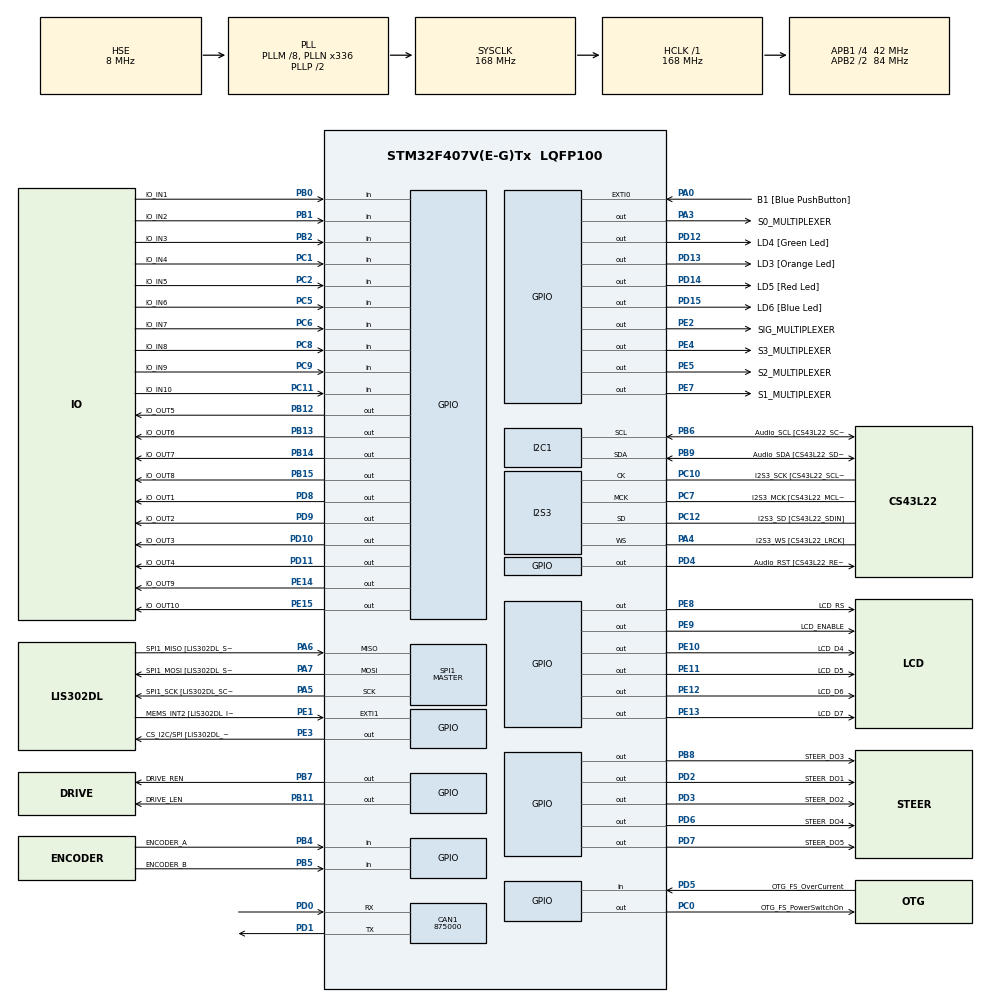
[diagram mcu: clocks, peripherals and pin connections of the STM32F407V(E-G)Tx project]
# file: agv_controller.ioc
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CAN1.CalculateBaudRate=875000
CAN1.CalculateTimeBit=1142
CAN1.CalculateTimeQuantum=380.95238095238096
I2S3.ErrorAudioFreq=-0.27 %
I2S3.FullDuplexMode=I2S_FULLDUPLEXMODE_DISABLE
I2S3.Instance=SPI$Index
I2S3.RealAudioFreq=7.978 KHz
I2S3.VirtualMode=I2S_MODE_MASTER
Mcu.Family=STM32F4
Mcu.Name=STM32F407V(E-G)Tx
Mcu.Package=LQFP100
NVIC.PriorityGroup=NVIC_PRIORITYGROUP_0
PA0-WKUP.GPIO_Label=B1 [Blue PushButton]
PA0-WKUP.GPIO_ModeDefaultEXTI=GPIO_MODE_EVT_RISING
PA0-WKUP.GPIO_PuPd=GPIO_NOPULL
PA0-WKUP.Signal=GPXTI0
PA1.Signal=S_TIM5_CH2
PA13.GPIO_Label=SWDIO
PA13.Mode=Serial_Wire
PA13.Signal=SYS_JTMS-SWDIO
PA14.GPIO_Label=SWCLK
PA14.Mode=Serial_Wire
PA14.Signal=SYS_JTCK-SWCLK
PA2.Signal=S_TIM5_CH3
PA3.GPIO_Label=S0_MULTIPLEXER
PA3.Signal=GPIO_Output
PA4.GPIO_Label=I2S3_WS [CS43L22_LRCK]
PA4.GPIO_Mode=GPIO_MODE_AF_PP
PA4.GPIO_PuPd=GPIO_NOPULL
PA4.GPIO_Speed=GPIO_SPEED_FREQ_LOW
PA4.Mode=Half_Duplex_Master
PA4.Signal=I2S3_WS
PA5.GPIO_Label=SPI1_SCK [LIS302DL_SCL/SPC]
PA5.GPIO_Mode=GPIO_MODE_AF_PP
PA5.GPIO_PuPd=GPIO_NOPULL
PA5.GPIO_Speed=GPIO_SPEED_FREQ_LOW
PA5.Mode=Full_Duplex_Master
PA5.Signal=SPI1_SCK
PA6.GPIO_Label=SPI1_MISO [LIS302DL_SDO]
PA6.GPIO_Mode=GPIO_MODE_AF_PP
PA6.GPIO_PuPd=GPIO_NOPULL
PA6.GPIO_Speed=GPIO_SPEED_FREQ_LOW
PA6.Mode=Full_Duplex_Master
PA6.Signal=SPI1_MISO
PA7.GPIO_Label=SPI1_MOSI [LIS302DL_SDA/SDI/SDO]
PA7.GPIO_Mode=GPIO_MODE_AF_PP
PA7.GPIO_PuPd=GPIO_NOPULL
PA7.GPIO_Speed=GPIO_SPEED_FREQ_LOW
PA7.Mode=Full_Duplex_Master
PA7.Signal=SPI1_MOSI
PA8.Signal=S_TIM1_CH1
PB0.GPIO_Label=IO_IN1
PB0.Signal=GPIO_Input
PB1.GPIO_Label=IO_IN2
PB1.Signal=GPIO_Input
PB11.GPIO_Label=DRIVE_LEN
PB11.Signal=GPIO_Output
PB12.GPIO_Label=IO_OUT5
PB12.Signal=GPIO_Output
PB13.GPIO_Label=IO_OUT6
PB13.Signal=GPIO_Output
PB14.GPIO_Label=IO_OUT7
PB14.Signal=GPIO_Output
PB15.GPIO_Label=IO_OUT8
PB15.Signal=GPIO_Output
PB2.GPIO_Label=IO_IN3
PB2.Signal=GPIO_Input
PB4.GPIO_Label=ENCODER_A
PB4.GPIO_PuPd=GPIO_PULLUP
PB4.Signal=GPIO_Input
PB5.GPIO_Label=ENCODER_B
PB5.GPIO_PuPd=GPIO_PULLUP
PB5.Signal=GPIO_Input
PB6.GPIO_Label=Audio_SCL [CS43L22_SCL]
PB6.GPIO_Mode=GPIO_MODE_AF_OD
PB6.GPIO_Pu=GPIO_PULLUP
PB6.GPIO_PuPd=GPIO_NOPULL
PB6.GPIO_Speed=GPIO_SPEED_FREQ_LOW
PB6.Mode=I2C
PB6.Signal=I2C1_SCL
PB7.GPIO_Label=DRIVE_REN
PB7.Signal=GPIO_Output
PB8.GPIO_Label=STEER_DO3
PB8.Signal=GPIO_Output
PB9.GPIO_Label=Audio_SDA [CS43L22_SDA]
PB9.GPIO_Mode=GPIO_MODE_AF_OD
PB9.GPIO_Pu=GPIO_PULLUP
PB9.GPIO_PuPd=GPIO_NOPULL
PB9.GPIO_Speed=GPIO_SPEED_FREQ_LOW
PB9.Mode=I2C
PB9.Signal=I2C1_SDA
PC0.GPIO_Label=OTG_FS_PowerSwitchOn
PC0.GPIO_PuPd=GPIO_NOPULL
PC0.GPIO_Speed=GPIO_SPEED_FREQ_LOW
PC0.PinState=GPIO_PIN_SET
PC0.Signal=GPIO_Output
PC1.GPIO_Label=IO_IN4
PC1.Signal=GPIO_Input
PC10.GPIO_Label=I2S3_SCK [CS43L22_SCLK]
PC10.GPIO_Mode=GPIO_MODE_AF_PP
PC10.GPIO_PuPd=GPIO_NOPULL
PC10.GPIO_Speed=GPIO_SPEED_FREQ_LOW
PC10.Mode=Half_Duplex_Master
PC10.Signal=I2S3_CK
PC11.GPIO_Label=IO_IN10
PC11.Signal=GPIO_Input
PC12.GPIO_Label=I2S3_SD [CS43L22_SDIN]
PC12.GPIO_Mode=GPIO_MODE_AF_PP
PC12.GPIO_PuPd=GPIO_NOPULL
PC12.GPIO_Speed=GPIO_SPEED_FREQ_LOW
PC12.Mode=Half_Duplex_Master
PC12.Signal=I2S3_SD
PC14-OSC32_IN.Signal=RCC_OSC32_IN
PC15-OSC32_OUT.Signal=RCC_OSC32_OUT
PC2.GPIO_Label=IO_IN5
PC2.Signal=GPIO_Input
PC3.GPIO_Label=PDM_OUT [MP45DT02_DOUT]
PC3.GPIO_Mode=GPIO_MODE_AF_PP
PC3.GPIO_PuPd=GPIO_NOPULL
PC3.GPIO_Speed=GPIO_SPEED_FREQ_LOW
PC3.Signal=I2S2_SD
PC5.GPIO_Label=IO_IN6
PC5.Signal=GPIO_Input
PC6.GPIO_Label=IO_IN7
PC6.Signal=GPIO_Input
PC7.GPIO_Label=I2S3_MCK [CS43L22_MCLK]
PC7.GPIO_Mode=GPIO_MODE_AF_PP
PC7.GPIO_PuPd=GPIO_NOPULL
PC7.GPIO_Speed=GPIO_SPEED_FREQ_LOW
PC7.Mode=Master_Clock_Activated
PC7.Signal=I2S3_MCK
PC8.GPIO_Label=IO_IN8
PC8.Signal=GPIO_Input
PC9.GPIO_Label=IO_IN9
PC9.Signal=GPIO_Input
PD0.Mode=CAN_Activate
PD0.Signal=CAN1_RX
PD1.Mode=CAN_Activate
PD1.Signal=CAN1_TX
PD10.GPIO_Label=IO_OUT3
PD10.Signal=GPIO_Output
PD11.GPIO_Label=IO_OUT4
PD11.Signal=GPIO_Output
PD12.GPIO_Label=LD4 [Green Led]
PD12.GPIO_PuPd=GPIO_NOPULL
PD12.GPIO_Speed=GPIO_SPEED_FREQ_LOW
PD12.Signal=GPIO_Output
PD13.GPIO_Label=LD3 [Orange Led]
PD13.GPIO_PuPd=GPIO_NOPULL
PD13.GPIO_Speed=GPIO_SPEED_FREQ_LOW
PD13.Signal=GPIO_Output
PD14.GPIO_Label=LD5 [Red Led]
PD14.GPIO_PuPd=GPIO_NOPULL
PD14.GPIO_Speed=GPIO_SPEED_FREQ_LOW
PD14.Signal=GPIO_Output
PD15.GPIO_Label=LD6 [Blue Led]
PD15.GPIO_PuPd=GPIO_NOPULL
PD15.GPIO_Speed=GPIO_SPEED_FREQ_LOW
PD15.Signal=GPIO_Output
PD2.GPIO_Label=STEER_DO1
PD2.Signal=GPIO_Output
PD3.GPIO_Label=STEER_DO2
PD3.Signal=GPIO_Output
PD4.GPIO_Label=Audio_RST [CS43L22_RESET]
PD4.GPIO_PuPd=GPIO_NOPULL
PD4.GPIO_Speed=GPIO_SPEED_FREQ_LOW
PD4.Signal=GPIO_Output
PD5.GPIO_Label=OTG_FS_OverCurrent
PD5.GPIO_Mode=GPIO_MODE_INPUT
PD5.GPIO_PuPd=GPIO_NOPULL
PD5.Signal=GPIO_Input
PD6.GPIO_Label=STEER_DO4
PD6.Signal=GPIO_Output
PD7.GPIO_Label=STEER_DO5
PD7.Signal=GPIO_Output
PD8.GPIO_Label=IO_OUT1
PD8.Signal=GPIO_Output
PD9.GPIO_Label=IO_OUT2
PD9.Signal=GPIO_Output
PE1.GPIO_Label=MEMS_INT2 [LIS302DL_INT2]
PE1.GPIO_ModeDefaultEXTI=GPIO_MODE_EVT_RISING
PE1.GPIO_PuPd=GPIO_NOPULL
PE1.Signal=GPXTI1
PE10.GPIO_Label=LCD_D4
PE10.Signal=GPIO_Output
PE11.GPIO_Label=LCD_D5
PE11.Signal=GPIO_Output
PE12.GPIO_Label=LCD_D6
PE12.Signal=GPIO_Output
PE13.GPIO_Label=LCD_D7
PE13.Signal=GPIO_Output
PE14.GPIO_Label=IO_OUT9
PE14.Signal=GPIO_Output
PE15.GPIO_Label=IO_OUT10
PE15.Signal=GPIO_Output
PE2.GPIO_Label=SIG_MULTIPLEXER
PE2.Signal=GPIO_Output
PE3.GPIO_Label=CS_I2C/SPI [LIS302DL_CS_I2C/SPI]
PE3.GPIO_PuPd=GPIO_NOPULL
PE3.GPIO_Speed=GPIO_SPEED_FREQ_LOW
PE3.Signal=GPIO_Output
PE4.GPIO_Label=S3_MULTIPLEXER
PE4.Signal=GPIO_Output
PE5.GPIO_Label=S2_MULTIPLEXER
PE5.Signal=GPIO_Output
PE7.GPIO_Label=S1_MULTIPLEXER
PE7.Signal=GPIO_Output
PE8.GPIO_Label=LCD_RS
PE8.Signal=GPIO_Output
PE9.GPIO_Label=LCD_ENABLE
PE9.Signal=GPIO_Output
PH0-OSC_IN.GPIO_Label=PH0-OSC_IN
PH0-OSC_IN.Mode=HSE-External-Oscillator
PH0-OSC_IN.Signal=RCC_OSC_IN
PH1-OSC_OUT.GPIO_Label=PH1-OSC_OUT
PH1-OSC_OUT.Mode=HSE-External-Oscillator
PH1-OSC_OUT.Signal=RCC_OSC_OUT
ProjectManager.HeapSize=0x200
ProjectManager.StackSize=0x400
ProjectManager.TargetToolchain=STM32CubeIDE
RCC.48MHZClocksFreq_Value=48000000
RCC.AHBFreq_Value=168000000
RCC.APB1CLKDivider=RCC_HCLK_DIV4
RCC.APB1Freq_Value=42000000
RCC.APB1TimFreq_Value=84000000
RCC.APB2CLKDivider=RCC_HCLK_DIV2
RCC.APB2Freq_Value=84000000
RCC.APB2TimFreq_Value=168000000
RCC.CortexFreq_Value=168000000
RCC.HCLKFreq_Value=168000000
RCC.HSE_VALUE=8000000
RCC.HSI_VALUE=16000000
RCC.LSE_VALUE=32768
RCC.PLLM=8
RCC.PLLN=336
RCC.PLLQ=7
RCC.PLLSourceVirtual=RCC_PLLSOURCE_HSE
RCC.SYSCLKFreq_VALUE=168000000
RCC.SYSCLKSource=RCC_SYSCLKSOURCE_PLLCLK
RCC.VCOOutputFreq_Value=336000000
SH.S_TIM1_CH1.0=TIM1_CH1
SH.S_TIM5_CH2.0=TIM5_CH2
SH.S_TIM5_CH3.0=TIM5_CH3
SPI1.BaudRatePrescaler-Full_Duplex_Master=SPI_BAUDRATEPRESCALER_2
SPI1.CalculateBaudRate-Full_Duplex_Master=42.0 MBits/s
SPI1.Direction=SPI_DIRECTION_2LINES
SPI1.Mode=SPI_MODE_MASTER
SPI1.Mode-Full_Duplex_Master=SPI_MODE_MASTER
SPI1.VirtualType=VM_MASTER
board=STM32F407G-DISC1

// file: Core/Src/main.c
/* USER CODE BEGIN Header */
/**
  ******************************************************************************
  * @file           : main.c
  * @brief          : Main program body
  ******************************************************************************
  * @attention
  *
  * Copyright (c) 2026 STMicroelectronics.
  * All rights reserved.
  *
  * This software is licensed under terms that can be found in the LICENSE file
  * in the root directory of this software component.
  * If no LICENSE file comes with this software, it is provided AS-IS.
  *
  ******************************************************************************
  */
/* USER CODE END Header */
#include "main.h"

/* USER CODE BEGIN Includes */
#include "lcd.h"
#include "bsp.h"
#include "canbus.h"
#include "drive.h"
#include "steering.h"

#include <math.h>
#include <stdio.h>
#include <string.h>
#include <stdint.h>
/* USER CODE END Includes */

/* USER CODE BEGIN PTD */
#ifndef RAD_TO_DEG
#define RAD_TO_DEG 57.29577951308232f
#endif
#ifndef DEG_TO_RAD
#define DEG_TO_RAD 0.017453292519943295f
#endif

/* USER CODE END PTD */

/* USER CODE BEGIN PD */
#define CMD_CAN_ID          0x001
#define CAN_ID_STEERING_FB  0x011
#define CAN_ID_WHEELSPEED   0x012
#define CMD_TIMEOUT_MS      500
#define MAX_RX_PER_LOOP     8
#define DIAG_INTERVAL_MS    1000
#define CONTROL_INTERVAL_MS 20
#define SEND_INTERVAL_MS    20

#define MAX_LINEAR_MPS      0.4f
#define MAX_YAW_RAD_S       1.2f
#define MAX_STEER_RAD       (30.0f * DEG_TO_RAD)

#define WHEELBASE_M         0.50f
/* USER CODE END PD */

CAN_HandleTypeDef hcan1;

I2C_HandleTypeDef hi2c1;

I2S_HandleTypeDef hi2s3;

SPI_HandleTypeDef hspi1;

/* USER CODE BEGIN PV */
static uint32_t last_control_time = 0;
static uint32_t last_cmd_time     = 0;
static uint32_t last_diag_time    = 0;
static uint32_t last_send_time    = 0;

static float cmd_linear  = 0.0f;
static float cmd_angular = 0.0f;
static int   pwm_command = 0;

static uint32_t loop_count        = 0;
static uint32_t rx_cmd_count      = 0;
static uint32_t invalid_cmd_count = 0;
static uint32_t max_loop_cycles   = 0;

volatile int32_t enc_count = 0;
/* USER CODE END PV */

void SystemClock_Config(void);
static void MX_GPIO_Init(void);
static void MX_I2C1_Init(void);
static void MX_I2S3_Init(void);
static void MX_SPI1_Init(void);
static void MX_CAN1_Init(void);

/* USER CODE BEGIN 0 */
static float clampFloat(float v, float lo, float hi)
{
    if (v < lo) return lo;
    if (v > hi) return hi;
    return v;
}

/* Linear velocity (m/s) -> PWM (-255..255) */
static int velocityToPwm(float velocity)
{
    velocity = clampFloat(velocity, -MAX_LINEAR_MPS, MAX_LINEAR_MPS);
    return (int)roundf(velocity / MAX_LINEAR_MPS * 255.0f);
}

/* Model bicycle: delta = atan(L * yaw_rate / velocity) */
static float calculateSteering(float velocity, float yaw_rate)
{
    if (fabsf(velocity) < 0.03f) return 0.0f;

    float steering_angle = atan2f(WHEELBASE_M * yaw_rate, velocity);
    return clampFloat(steering_angle, -MAX_STEER_RAD, MAX_STEER_RAD);
}

/* USER CODE END 0 */

int main(void)
{

  /* MCU Configuration--------------------------------------------------------*/

  /* Reset of all peripherals, Initializes the Flash interface and the Systick. */
  HAL_Init();

  /* Configure the system clock */
  SystemClock_Config();

  /* Initialize all configured peripherals */
  MX_GPIO_Init();
  MX_I2C1_Init();
  MX_I2S3_Init();
  MX_SPI1_Init();
  MX_CAN1_Init();
  /* USER CODE BEGIN 2 */

  initLCD();
  char *stl = "EEPIS AGV";
  writeLCD(stl);
  char *ttl = "Starting";
  setCursor(0,1);
  writeLCD(ttl);

  HAL_Delay(1000);

  drive_init();

  uint32_t now = HAL_GetTick();
  last_cmd_time     = now;
  last_control_time = now;
  last_diag_time    = now;
  last_send_time    = now;

  /* USER CODE END 2 */

  /* Infinite loop */
  while (1)
  {
	  enc_count = drive_get_count();
  }
}

void SystemClock_Config(void)
{
  RCC_OscInitTypeDef RCC_OscInitStruct = {0};
  RCC_ClkInitTypeDef RCC_ClkInitStruct = {0};

  /** Configure the main internal regulator output voltage
  */
  __HAL_RCC_PWR_CLK_ENABLE();
  __HAL_PWR_VOLTAGESCALING_CONFIG(PWR_REGULATOR_VOLTAGE_SCALE1);

  /** Initializes the RCC Oscillators according to the specified parameters
  * in the RCC_OscInitTypeDef structure.
  */
  RCC_OscInitStruct.OscillatorType = RCC_OSCILLATORTYPE_HSE;
  RCC_OscInitStruct.HSEState = RCC_HSE_ON;
  RCC_OscInitStruct.PLL.PLLState = RCC_PLL_ON;
  RCC_OscInitStruct.PLL.PLLSource = RCC_PLLSOURCE_HSE;
  RCC_OscInitStruct.PLL.PLLM = 8;
  RCC_OscInitStruct.PLL.PLLN = 336;
  RCC_OscInitStruct.PLL.PLLP = RCC_PLLP_DIV2;
  RCC_OscInitStruct.PLL.PLLQ = 7;
  if (HAL_RCC_OscConfig(&RCC_OscInitStruct) != HAL_OK)
  {
    Error_Handler();
  }

  /** Initializes the CPU, AHB and APB buses clocks
  */
  RCC_ClkInitStruct.ClockType = RCC_CLOCKTYPE_HCLK|RCC_CLOCKTYPE_SYSCLK
                              |RCC_CLOCKTYPE_PCLK1|RCC_CLOCKTYPE_PCLK2;
  RCC_ClkInitStruct.SYSCLKSource = RCC_SYSCLKSOURCE_PLLCLK;
  RCC_ClkInitStruct.AHBCLKDivider = RCC_SYSCLK_DIV1;
  RCC_ClkInitStruct.APB1CLKDivider = RCC_HCLK_DIV4;
  RCC_ClkInitStruct.APB2CLKDivider = RCC_HCLK_DIV2;

  if (HAL_RCC_ClockConfig(&RCC_ClkInitStruct, FLASH_LATENCY_5) != HAL_OK)
  {
    Error_Handler();
  }
}

static void MX_CAN1_Init(void)
{

  hcan1.Instance = CAN1;
  hcan1.Init.Prescaler = 16;
  hcan1.Init.Mode = CAN_MODE_NORMAL;
  hcan1.Init.SyncJumpWidth = CAN_SJW_1TQ;
  hcan1.Init.TimeSeg1 = CAN_BS1_1TQ;
  hcan1.Init.TimeSeg2 = CAN_BS2_1TQ;
  hcan1.Init.TimeTriggeredMode = DISABLE;
  hcan1.Init.AutoBusOff = DISABLE;
  hcan1.Init.AutoWakeUp = DISABLE;
  hcan1.Init.AutoRetransmission = DISABLE;
  hcan1.Init.ReceiveFifoLocked = DISABLE;
  hcan1.Init.TransmitFifoPriority = DISABLE;
  if (HAL_CAN_Init(&hcan1) != HAL_OK)
  {
    Error_Handler();
  }

}

static void MX_I2C1_Init(void)
{

  hi2c1.Instance = I2C1;
  hi2c1.Init.ClockSpeed = 100000;
  hi2c1.Init.DutyCycle = I2C_DUTYCYCLE_2;
  hi2c1.Init.OwnAddress1 = 0;
  hi2c1.Init.AddressingMode = I2C_ADDRESSINGMODE_7BIT;
  hi2c1.Init.DualAddressMode = I2C_DUALADDRESS_DISABLE;
  hi2c1.Init.OwnAddress2 = 0;
  hi2c1.Init.GeneralCallMode = I2C_GENERALCALL_DISABLE;
  hi2c1.Init.NoStretchMode = I2C_NOSTRETCH_DISABLE;
  if (HAL_I2C_Init(&hi2c1) != HAL_OK)
  {
    Error_Handler();
  }

}

static void MX_I2S3_Init(void)
{

  hi2s3.Instance = SPI3;
  hi2s3.Init.Mode = I2S_MODE_MASTER_TX;
  hi2s3.Init.Standard = I2S_STANDARD_PHILIPS;
  hi2s3.Init.DataFormat = I2S_DATAFORMAT_16B;
  hi2s3.Init.MCLKOutput = I2S_MCLKOUTPUT_ENABLE;
  hi2s3.Init.AudioFreq = I2S_AUDIOFREQ_8K;
  hi2s3.Init.CPOL = I2S_CPOL_LOW;
  hi2s3.Init.ClockSource = I2S_CLOCK_PLL;
  hi2s3.Init.FullDuplexMode = I2S_FULLDUPLEXMODE_DISABLE;
  if (HAL_I2S_Init(&hi2s3) != HAL_OK)
  {
    Error_Handler();
  }

}

static void MX_SPI1_Init(void)
{

  /* SPI1 parameter configuration*/
  hspi1.Instance = SPI1;
  hspi1.Init.Mode = SPI_MODE_MASTER;
  hspi1.Init.Direction = SPI_DIRECTION_2LINES;
  hspi1.Init.DataSize = SPI_DATASIZE_8BIT;
  hspi1.Init.CLKPolarity = SPI_POLARITY_LOW;
  hspi1.Init.CLKPhase = SPI_PHASE_1EDGE;
  hspi1.Init.NSS = SPI_NSS_SOFT;
  hspi1.Init.BaudRatePrescaler = SPI_BAUDRATEPRESCALER_2;
  hspi1.Init.FirstBit = SPI_FIRSTBIT_MSB;
  hspi1.Init.TIMode = SPI_TIMODE_DISABLE;
  hspi1.Init.CRCCalculation = SPI_CRCCALCULATION_DISABLE;
  hspi1.Init.CRCPolynomial = 10;
  if (HAL_SPI_Init(&hspi1) != HAL_OK)
  {
    Error_Handler();
  }

}

static void MX_GPIO_Init(void)
{
  GPIO_InitTypeDef GPIO_InitStruct = {0};

  /* GPIO Ports Clock Enable */
  __HAL_RCC_GPIOE_CLK_ENABLE();
  __HAL_RCC_GPIOC_CLK_ENABLE();
  __HAL_RCC_GPIOH_CLK_ENABLE();
  __HAL_RCC_GPIOA_CLK_ENABLE();
  __HAL_RCC_GPIOB_CLK_ENABLE();
  __HAL_RCC_GPIOD_CLK_ENABLE();

  /*Configure GPIO pin Output Level */
  HAL_GPIO_WritePin(GPIOE, SIG_MULTIPLEXER_Pin|CS_I2C_SPI_Pin|S3_MULTIPLEXER_Pin|S2_MULTIPLEXER_Pin
                          |S1_MULTIPLEXER_Pin|LCD_RS_Pin|LCD_ENABLE_Pin|LCD_D4_Pin
                          |LCD_D5_Pin|LCD_D6_Pin|LCD_D7_Pin|IO_OUT9_Pin
                          |IO_OUT10_Pin, GPIO_PIN_RESET);

  /*Configure GPIO pin Output Level */
  HAL_GPIO_WritePin(OTG_FS_PowerSwitchOn_GPIO_Port, OTG_FS_PowerSwitchOn_Pin, GPIO_PIN_SET);

  /*Configure GPIO pin Output Level */
  HAL_GPIO_WritePin(S0_MULTIPLEXER_GPIO_Port, S0_MULTIPLEXER_Pin, GPIO_PIN_RESET);

  /*Configure GPIO pin Output Level */
  HAL_GPIO_WritePin(GPIOB, DRIVE_LEN_Pin|IO_OUT5_Pin|IO_OUT6_Pin|IO_OUT7_Pin
                          |IO_OUT8_Pin|DRIVE_REN_Pin|STEER_DO3_Pin, GPIO_PIN_RESET);

  /*Configure GPIO pin Output Level */
  HAL_GPIO_WritePin(GPIOD, IO_OUT1_Pin|IO_OUT2_Pin|IO_OUT3_Pin|IO_OUT4_Pin
                          |LD4_Pin|LD3_Pin|LD5_Pin|LD6_Pin
                          |STEER_DO1_Pin|STEER_DO2_Pin|Audio_RST_Pin|STEER_DO4_Pin
                          |STEER_DO5_Pin, GPIO_PIN_RESET);

  /*Configure GPIO pins : SIG_MULTIPLEXER_Pin CS_I2C_SPI_Pin S3_MULTIPLEXER_Pin S2_MULTIPLEXER_Pin
                           S1_MULTIPLEXER_Pin LCD_RS_Pin LCD_ENABLE_Pin LCD_D4_Pin
                           LCD_D5_Pin LCD_D6_Pin LCD_D7_Pin IO_OUT9_Pin
                           IO_OUT10_Pin */
  GPIO_InitStruct.Pin = SIG_MULTIPLEXER_Pin|CS_I2C_SPI_Pin|S3_MULTIPLEXER_Pin|S2_MULTIPLEXER_Pin
                          |S1_MULTIPLEXER_Pin|LCD_RS_Pin|LCD_ENABLE_Pin|LCD_D4_Pin
                          |LCD_D5_Pin|LCD_D6_Pin|LCD_D7_Pin|IO_OUT9_Pin
                          |IO_OUT10_Pin;
  GPIO_InitStruct.Mode = GPIO_MODE_OUTPUT_PP;
  GPIO_InitStruct.Pull = GPIO_NOPULL;
  GPIO_InitStruct.Speed = GPIO_SPEED_FREQ_LOW;
  HAL_GPIO_Init(GPIOE, &GPIO_InitStruct);

  /*Configure GPIO pin : OTG_FS_PowerSwitchOn_Pin */
  GPIO_InitStruct.Pin = OTG_FS_PowerSwitchOn_Pin;
  GPIO_InitStruct.Mode = GPIO_MODE_OUTPUT_PP;
  GPIO_InitStruct.Pull = GPIO_NOPULL;
  GPIO_InitStruct.Speed = GPIO_SPEED_FREQ_LOW;
  HAL_GPIO_Init(OTG_FS_PowerSwitchOn_GPIO_Port, &GPIO_InitStruct);

  /*Configure GPIO pins : IO_IN4_Pin IO_IN5_Pin IO_IN6_Pin IO_IN7_Pin
                           IO_IN8_Pin IO_IN9_Pin IO_IN10_Pin */
  GPIO_InitStruct.Pin = IO_IN4_Pin|IO_IN5_Pin|IO_IN6_Pin|IO_IN7_Pin
                          |IO_IN8_Pin|IO_IN9_Pin|IO_IN10_Pin;
  GPIO_InitStruct.Mode = GPIO_MODE_INPUT;
  GPIO_InitStruct.Pull = GPIO_NOPULL;
  HAL_GPIO_Init(GPIOC, &GPIO_InitStruct);

  /*Configure GPIO pin : PDM_OUT_Pin */
  GPIO_InitStruct.Pin = PDM_OUT_Pin;
  GPIO_InitStruct.Mode = GPIO_MODE_AF_PP;
  GPIO_InitStruct.Pull = GPIO_NOPULL;
  GPIO_InitStruct.Speed = GPIO_SPEED_FREQ_LOW;
  GPIO_InitStruct.Alternate = GPIO_AF5_SPI2;
  HAL_GPIO_Init(PDM_OUT_GPIO_Port, &GPIO_InitStruct);

  /*Configure GPIO pin : B1_Pin */
  GPIO_InitStruct.Pin = B1_Pin;
  GPIO_InitStruct.Mode = GPIO_MODE_EVT_RISING;
  GPIO_InitStruct.Pull = GPIO_NOPULL;
  HAL_GPIO_Init(B1_GPIO_Port, &GPIO_InitStruct);

  /*Configure GPIO pins : PA1 PA2 */
  GPIO_InitStruct.Pin = GPIO_PIN_1|GPIO_PIN_2;
  GPIO_InitStruct.Mode = GPIO_MODE_AF_PP;
  GPIO_InitStruct.Pull = GPIO_NOPULL;
  GPIO_InitStruct.Speed = GPIO_SPEED_FREQ_LOW;
  GPIO_InitStruct.Alternate = GPIO_AF2_TIM5;
  HAL_GPIO_Init(GPIOA, &GPIO_InitStruct);

  /*Configure GPIO pin : S0_MULTIPLEXER_Pin */
  GPIO_InitStruct.Pin = S0_MULTIPLEXER_Pin;
  GPIO_InitStruct.Mode = GPIO_MODE_OUTPUT_PP;
  GPIO_InitStruct.Pull = GPIO_NOPULL;
  GPIO_InitStruct.Speed = GPIO_SPEED_FREQ_LOW;
  HAL_GPIO_Init(S0_MULTIPLEXER_GPIO_Port, &GPIO_InitStruct);

  /*Configure GPIO pins : IO_IN1_Pin IO_IN2_Pin IO_IN3_Pin */
  GPIO_InitStruct.Pin = IO_IN1_Pin|IO_IN2_Pin|IO_IN3_Pin;
  GPIO_InitStruct.Mode = GPIO_MODE_INPUT;
  GPIO_InitStruct.Pull = GPIO_NOPULL;
  HAL_GPIO_Init(GPIOB, &GPIO_InitStruct);

  /*Configure GPIO pins : DRIVE_LEN_Pin IO_OUT5_Pin IO_OUT6_Pin IO_OUT7_Pin
                           IO_OUT8_Pin DRIVE_REN_Pin STEER_DO3_Pin */
  GPIO_InitStruct.Pin = DRIVE_LEN_Pin|IO_OUT5_Pin|IO_OUT6_Pin|IO_OUT7_Pin
                          |IO_OUT8_Pin|DRIVE_REN_Pin|STEER_DO3_Pin;
  GPIO_InitStruct.Mode = GPIO_MODE_OUTPUT_PP;
  GPIO_InitStruct.Pull = GPIO_NOPULL;
  GPIO_InitStruct.Speed = GPIO_SPEED_FREQ_LOW;
  HAL_GPIO_Init(GPIOB, &GPIO_InitStruct);

  /*Configure GPIO pins : IO_OUT1_Pin IO_OUT2_Pin IO_OUT3_Pin IO_OUT4_Pin
                           LD4_Pin LD3_Pin LD5_Pin LD6_Pin
                           STEER_DO1_Pin STEER_DO2_Pin Audio_RST_Pin STEER_DO4_Pin
                           STEER_DO5_Pin */
  GPIO_InitStruct.Pin = IO_OUT1_Pin|IO_OUT2_Pin|IO_OUT3_Pin|IO_OUT4_Pin
                          |LD4_Pin|LD3_Pin|LD5_Pin|LD6_Pin
                          |STEER_DO1_Pin|STEER_DO2_Pin|Audio_RST_Pin|STEER_DO4_Pin
                          |STEER_DO5_Pin;
  GPIO_InitStruct.Mode = GPIO_MODE_OUTPUT_PP;
  GPIO_InitStruct.Pull = GPIO_NOPULL;
  GPIO_InitStruct.Speed = GPIO_SPEED_FREQ_LOW;
  HAL_GPIO_Init(GPIOD, &GPIO_InitStruct);

  /*Configure GPIO pin : PA8 */
  GPIO_InitStruct.Pin = GPIO_PIN_8;
  GPIO_InitStruct.Mode = GPIO_MODE_AF_PP;
  GPIO_InitStruct.Pull = GPIO_NOPULL;
  GPIO_InitStruct.Speed = GPIO_SPEED_FREQ_LOW;
  GPIO_InitStruct.Alternate = GPIO_AF1_TIM1;
  HAL_GPIO_Init(GPIOA, &GPIO_InitStruct);

  /*Configure GPIO pin : OTG_FS_OverCurrent_Pin */
  GPIO_InitStruct.Pin = OTG_FS_OverCurrent_Pin;
  GPIO_InitStruct.Mode = GPIO_MODE_INPUT;
  GPIO_InitStruct.Pull = GPIO_NOPULL;
  HAL_GPIO_Init(OTG_FS_OverCurrent_GPIO_Port, &GPIO_InitStruct);

  /*Configure GPIO pins : ENCODER_A_Pin ENCODER_B_Pin */
  GPIO_InitStruct.Pin = ENCODER_A_Pin|ENCODER_B_Pin;
  GPIO_InitStruct.Mode = GPIO_MODE_INPUT;
  GPIO_InitStruct.Pull = GPIO_PULLUP;
  HAL_GPIO_Init(GPIOB, &GPIO_InitStruct);

  /*Configure GPIO pin : MEMS_INT2_Pin */
  GPIO_InitStruct.Pin = MEMS_INT2_Pin;
  GPIO_InitStruct.Mode = GPIO_MODE_EVT_RISING;
  GPIO_InitStruct.Pull = GPIO_NOPULL;
  HAL_GPIO_Init(MEMS_INT2_GPIO_Port, &GPIO_InitStruct);

}

void Error_Handler(void)
{
  __disable_irq();
  while (1)
  {
  }
}
